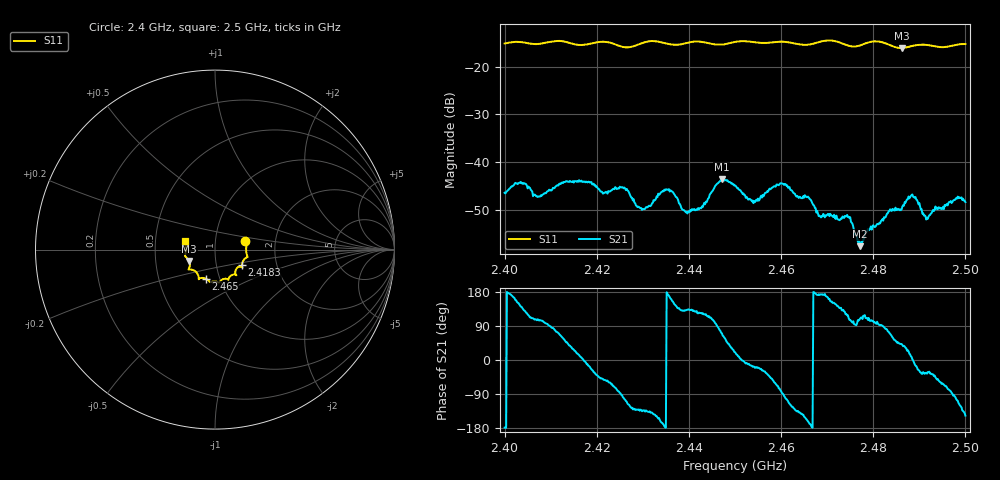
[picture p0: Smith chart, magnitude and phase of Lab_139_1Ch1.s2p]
# Hz S RI R 50
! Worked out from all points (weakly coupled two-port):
!   601 points, 2.4 GHz to 2.5 GHz, reference 50 ohm
!   highest |S21| = -43.57 dB at 2.4472 GHz (marker M1); lowest = -57.6 dB at 2.4772 GHz (marker M2)
!   lowest |S11| = -16.1 dB at 2.4862 GHz (marker M3), VSWR 1.37, Z = 37.2 - j4.84 ohm
!   |S11| at or under -10 dB: start of sweep to end of sweep
!   S12 and S22 are empty: the file has one direction only
!   S11 on the Smith chart (normalised r, x): 2.4 GHz: 1.40, +0.14; 2.4183 GHz: 1.33, -0.24; 2.465 GHz: 0.86, -0.29; 2.5 GHz: 0.71, +0.07
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2.4e9  0.1688 0.0471  -0.00478 -0.000126  0 0  0 0
2.416667e9  0.1547 -0.068  0.00637 0.000752  0 0  0 0
2.418333e9  0.1502 -0.0869  0.00597 -0.00173  0 0  0 0
2.426e9  0.1254 -0.1  -0.00123 -0.00528  0 0  0 0
2.429833e9  0.1138 -0.1355  -0.00225 -0.00223  0 0  0 0
2.433333e9  0.1175 -0.1408  -0.00422 -0.00202  0 0  0 0
2.436e9  0.1 -0.1397  -0.00482 0.00157  0 0  0 0
2.439667e9  0.0766 -0.1609  -0.00196 0.00214  0 0  0 0
2.447167e9  0.0429 -0.1653  0.00225 0.00624  0 0  0 0
2.45e9  0.0263 -0.1803  0.00535 0.00202  0 0  0 0
2.454e9  0.0144 -0.1808  0.00355 -0.0011  0 0  0 0
2.46e9  -0.0267 -0.1814  0.000822 -0.00596  0 0  0 0
2.465e9  -0.0524 -0.1616  -0.00367 -0.00215  0 0  0 0
2.466667e9  -0.0713 -0.1576  -0.00382 -0.000181  0 0  0 0
2.4685e9  -0.0868 -0.1613  -0.00267 0.000322  0 0  0 0
2.4745e9  -0.0974 -0.1358  -0.00125 0.00234  0 0  0 0
2.477167e9  -0.1236 -0.1133  -0.000442 0.00124  0 0  0 0
2.483333e9  -0.1411 -0.0965  0.000829 0.00293  0 0  0 0
2.486167e9  -0.1436 -0.0634  0.00238 0.00216  0 0  0 0
2.488667e9  -0.1605 -0.0426  0.00433 -9.62e-05  0 0  0 0
2.491833e9  -0.1663 -0.0296  0.00217 -0.00134  0 0  0 0
2.5e9  -0.1666 0.0468  -0.00319 -0.00209  0 0  0 0
